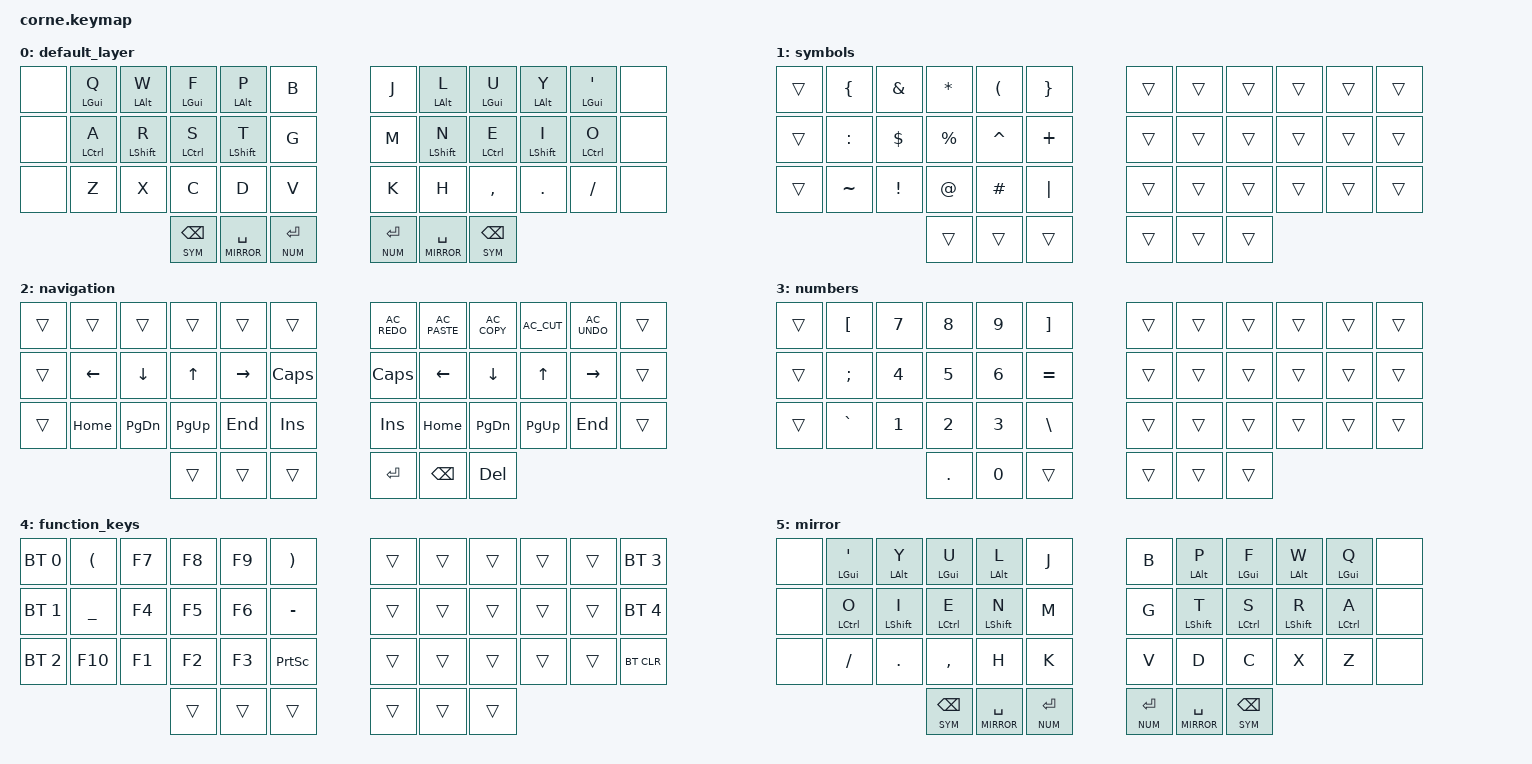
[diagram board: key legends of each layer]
/* miryoku layout based on
 * https://github.com/sethdwoolley/zmk-config
 */

#include <behaviors.dtsi>
#include <dt-bindings/zmk/keys.h>
#include <dt-bindings/zmk/bt.h>

// Layer Definitions
#define DEFAULT 0
#define SYM 1
#define NAVI 2
#define NUM 3
#define FUNC 4
#define MIRROR 5
#define NONE 0

/ {

    combos {
        compatible = "zmk,combos";
        combo_func_tab_l {
            timeout-ms = <50>;
            key-positions = <37 38>;
            bindings = <&lt FUNC TAB>;
        };
        combo_nav_esc_l {
            timeout-ms = <50>;
            key-positions = <36 37>;
            bindings = <&lt NAV ESC>;
        };
        combo_func_tab_r {
            timeout-ms = <50>;
            key-positions = <39 40>;
            bindings = <&lt FUNC TAB>;
        };
        combo_nav_esc_r {
            timeout-ms = <50>;
            key-positions = <40 41>;
            bindings = <&lt NAV ESC>;
        };
    };

//  Homerow mod held behaviour
    behaviors {
        hm: homerow_mods {
            compatible = "zmk,behavior-hold-tap";
            label = "HOMEROW_MODS";
            #binding-cells = <2>;
            tapping-term-ms = <175>;
            quick_tap_ms = <0>;
            flavor = "tap-preferred";
            bindings = <&kp>, <&kp>;
        };
    };


    keymap {
        compatible = "zmk,keymap";

        default_layer {
            bindings = <
&none  &hm LGUI Q    &hm LALT W  &hm LGUI F    &hm LALT P        &kp B         &kp J       &hm LALT L        &hm LGUI U    &hm LALT Y   &hm LGUI APOS &none
&none  &hm LCTRL A   &hm LSHFT R &hm LCTRL S   &hm LSHFT T       &kp G         &kp M       &hm LSHFT N       &hm LCTRL E   &hm LSHFT I  &hm LCTRL O   &none
&none  &kp Z         &kp X       &kp C         &kp D             &kp V         &kp K       &kp H             &kp CMMA      &kp DOT      &kp FSLH      &none
                                 &lt SYM BSPC  &lt MIRROR SPACE  &lt NUM RET   &lt NUM RET &lt MIRROR SPACE  &lt SYM BSPC
            >;
        };

        symbols {
            bindings = <
&trans  &kp LBRC  &kp AMPS   &kp STAR    &kp LPAR   &kp RBRC      &trans  &trans  &trans  &trans  &trans  &trans
&trans  &kp COLON &kp DLLR   &kp PRCNT   &kp CARET  &kp PLUS      &trans  &trans  &trans  &trans  &trans  &trans
&trans  &kp TILDE &kp EXCL   &kp AT      &kp POUND  &kp PIPE      &trans  &trans  &trans  &trans  &trans  &trans
                             &trans      &trans     &trans        &trans  &trans  &trans
            >;
        };

        navigation {
            bindings = <
&trans  &trans    &trans     &trans     &trans     &trans          &kp C_AC_REDO  &kp C_AC_PASTE  &kp C_AC_COPY  &kp C_AC_CUT  &kp C_AC_UNDO  &trans
&trans  &kp LEFT  &kp DOWN   &kp UP     &kp RIGHT  &kp CAPS        &kp CAPS       &kp LEFT        &kp DOWN       &kp UP        &kp RIGHT      &trans
&trans  &kp HOME  &kp PG_DN  &kp PG_UP  &kp END    &kp INS         &kp INS        &kp HOME        &kp PG_DN      &kp PG_UP     &kp END        &trans
                             &trans     &trans     &trans          &kp RET        &kp BSPC        &kp DEL
            >;
        };

        numbers {
            bindings = <
&trans    &kp LBKT   &kp N7   &kp N8   &kp N9    &kp RBKT      &trans  &trans  &trans  &trans  &trans  &trans
&trans    &kp SEMI   &kp N4   &kp N5   &kp N6    &kp EQUAL     &trans  &trans  &trans  &trans  &trans  &trans
&trans    &kp GRAVE  &kp N1   &kp N2   &kp N3    &kp BSLH      &trans  &trans  &trans  &trans  &trans  &trans
                              &kp DOT  &kp N0    &trans        &trans  &trans  &trans
            >;
        };

        function_keys {
            bindings = <
&bt BT_SEL 0  &kp LPAR   &kp F7     &kp F8     &kp F9     &kp RPAR          &trans  &trans  &trans  &trans  &trans  &bt BT_SEL 3
&bt BT_SEL 1  &kp UNDER  &kp F4     &kp F5     &kp F6     &kp MINUS         &trans  &trans  &trans  &trans  &trans  &bt BT_SEL 4
&bt BT_SEL 2  &kp F10    &kp F1     &kp F2     &kp F3     &kp PSCRN         &trans  &trans  &trans  &trans  &trans  &bt BT_CLR
                                    &trans     &trans     &trans            &trans  &trans  &trans
            >;
        };

        mirror {
            bindings = <
&none  &hm LGUI APOS &hm LALT Y  &hm LGUI U    &hm LALT L        &kp J         &kp B       &hm LALT P        &hm LGUI F    &hm LALT W   &hm LGUI Q    &none
&none  &hm LCTRL O   &hm LSHFT I &hm LCTRL E   &hm LSHFT N       &kp M         &kp G       &hm LSHFT T       &hm LCTRL S   &hm LSHFT R  &hm LCTRL A   &none
&none  &kp FSLH      &kp DOT     &kp CMMA      &kp H             &kp K         &kp V       &kp D             &kp C         &kp X        &kp Z         &none
                                 &lt SYM BSPC  &lt MIRROR SPACE  &lt NUM RET   &lt NUM RET &lt MIRROR SPACE  &lt SYM BSPC
            >;
        };
    };
};
